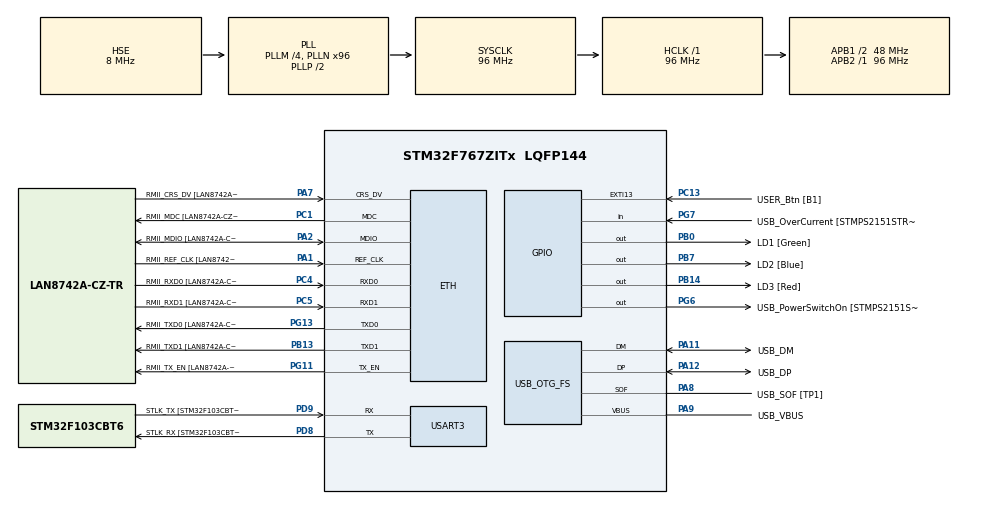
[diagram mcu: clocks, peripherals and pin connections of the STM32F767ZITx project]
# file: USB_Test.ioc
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ETH.MediaInterface=ETH_MEDIA_INTERFACE_RMII
ETH.PHY_Name=LAN8742A_PHY_ADDRESS
ETH.PHY_Value=0
ETH.PhyAddress=0
Mcu.Family=STM32F7
Mcu.Name=STM32F767ZITx
Mcu.Package=LQFP144
NVIC.OTG_FS_IRQn=true\:0\:0\:false\:false\:true\:false\:true
NVIC.PriorityGroup=NVIC_PRIORITYGROUP_4
PA1.GPIO_Label=RMII_REF_CLK [LAN8742A-CZ-TR_REFCLK0]
PA1.Mode=RMII
PA1.Signal=ETH_REF_CLK
PA10.GPIO_Label=USB_ID
PA10.Signal=USB_OTG_FS_ID
PA11.GPIO_Label=USB_DM
PA11.Mode=Device_Only
PA11.Signal=USB_OTG_FS_DM
PA12.GPIO_Label=USB_DP
PA12.Mode=Device_Only
PA12.Signal=USB_OTG_FS_DP
PA13.GPIO_Label=TMS
PA13.Mode=Serial_Wire
PA13.Signal=SYS_JTMS-SWDIO
PA14.GPIO_Label=TCK
PA14.Mode=Serial_Wire
PA14.Signal=SYS_JTCK-SWCLK
PA2.GPIO_Label=RMII_MDIO [LAN8742A-CZ-TR_MDIO]
PA2.Mode=RMII
PA2.Signal=ETH_MDIO
PA7.GPIO_Label=RMII_CRS_DV [LAN8742A-CZ-TR_CRS_DV]
PA7.Mode=RMII
PA7.Signal=ETH_CRS_DV
PA8.GPIO_Label=USB_SOF [TP1]
PA8.Mode=Activate_SOF_FS
PA8.Signal=USB_OTG_FS_SOF
PA9.GPIO_Label=USB_VBUS
PA9.Mode=Activate_VBUS
PA9.Signal=USB_OTG_FS_VBUS
PB0.GPIO_Label=LD1 [Green]
PB0.Signal=GPIO_Output
PB13.GPIO_Label=RMII_TXD1 [LAN8742A-CZ-TR_TXD1]
PB13.Mode=RMII
PB13.Signal=ETH_TXD1
PB14.GPIO_Label=LD3 [Red]
PB14.Signal=GPIO_Output
PB3.GPIO_Label=SWO
PB3.Signal=SYS_JTDO-SWO
PB7.GPIO_Label=LD2 [Blue]
PB7.Signal=GPIO_Output
PC1.GPIO_Label=RMII_MDC [LAN8742A-CZ-TR_MDC]
PC1.Mode=RMII
PC1.Signal=ETH_MDC
PC13.GPIO_Label=USER_Btn [B1]
PC13.Signal=GPXTI13
PC14/OSC32_IN.Mode=LSE-External-Oscillator
PC14/OSC32_IN.Signal=RCC_OSC32_IN
PC15/OSC32_OUT.Mode=LSE-External-Oscillator
PC15/OSC32_OUT.Signal=RCC_OSC32_OUT
PC4.GPIO_Label=RMII_RXD0 [LAN8742A-CZ-TR_RXD0]
PC4.Mode=RMII
PC4.Signal=ETH_RXD0
PC5.GPIO_Label=RMII_RXD1 [LAN8742A-CZ-TR_RXD1]
PC5.Mode=RMII
PC5.Signal=ETH_RXD1
PD8.GPIO_Label=STLK_RX [STM32F103CBT6_PA3]
PD8.Mode=Asynchronous
PD8.Signal=USART3_TX
PD9.GPIO_Label=STLK_TX [STM32F103CBT6_PA2]
PD9.Mode=Asynchronous
PD9.Signal=USART3_RX
PG11.GPIO_Label=RMII_TX_EN [LAN8742A-CZ-TR_TXEN]
PG11.Mode=RMII
PG11.Signal=ETH_TX_EN
PG13.GPIO_Label=RMII_TXD0 [LAN8742A-CZ-TR_TXD0]
PG13.Mode=RMII
PG13.Signal=ETH_TXD0
PG6.GPIO_Label=USB_PowerSwitchOn [STMPS2151STR_EN]
PG6.Signal=GPIO_Output
PG7.GPIO_Label=USB_OverCurrent [STMPS2151STR_FAULT]
PG7.Signal=GPIO_Input
PH0/OSC_IN.GPIO_Label=MCO [STM32F103CBT6_PA8]
PH0/OSC_IN.Mode=HSE-External-Clock-Source
PH0/OSC_IN.Signal=RCC_OSC_IN
PH1/OSC_OUT.Mode=HSE-External-Clock-Source
PH1/OSC_OUT.Signal=RCC_OSC_OUT
ProjectManager.HeapSize=0x200
ProjectManager.StackSize=0x400
ProjectManager.TargetToolchain=STM32CubeIDE
RCC.48MHZClocksFreq_Value=24000000
RCC.AHBFreq_Value=96000000
RCC.APB1CLKDivider=RCC_HCLK_DIV2
RCC.APB1Freq_Value=48000000
RCC.APB1TimFreq_Value=96000000
RCC.APB2Freq_Value=96000000
RCC.APB2TimFreq_Value=96000000
RCC.CortexFreq_Value=96000000
RCC.HCLKFreq_Value=96000000
RCC.HSE_VALUE=8000000
RCC.HSI_VALUE=16000000
RCC.PLLM=4
RCC.PLLMUL=RCC_PLL_MUL9
RCC.PLLN=96
RCC.PLLQ=4
RCC.PRESCALERUSB=RCC_USBCLKSOURCE_PLL_DIV1_5
RCC.SYSCLKFreq_VALUE=96000000
RCC.SYSCLKSource=RCC_SYSCLKSOURCE_PLLCLK
RCC.SYSCLKSourceVirtual=RCC_SYSCLKSOURCE_PLLCLK
RCC.USBFreq_Value=48000000
RCC.VCOOutputFreq_Value=192000000
USART3.VirtualMode-Asynchronous=VM_ASYNC
USB_DEVICE.CLASS_NAME_FS=HID
USB_DEVICE.PRODUCT_STRING_HID_FS=STM32 Fabian
USB_DEVICE.VirtualMode-HID_FS=Hid
USB_DEVICE.VirtualModeFS=Hid_FS
USB_OTG_FS.VirtualMode=Device_Only
VP_USB_DEVICE_VS_USB_DEVICE_HID_FS.Mode=HID_FS
board=NUCLEO-F767ZI

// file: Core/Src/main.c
/* USER CODE BEGIN Header */
/**
  ******************************************************************************
  * @file           : main.c
  * @brief          : Main program body
  ******************************************************************************
  * @attention
  *
  * <h2><center>&copy; Copyright (c) 2020 STMicroelectronics.
  * All rights reserved.</center></h2>
  *
  * This software component is licensed by ST under BSD 3-Clause license,
  * the "License"; You may not use this file except in compliance with the
  * License. You may obtain a copy of the License at:
  *                        opensource.org/licenses/BSD-3-Clause
  *
  ******************************************************************************
  */
/* USER CODE END Header */

#include "main.h"
#include "usb_device.h"

/* USER CODE BEGIN Includes */
#include "usbd_hid.h"
/* USER CODE END Includes */

ETH_HandleTypeDef heth;

UART_HandleTypeDef huart3;

void SystemClock_Config(void);
static void MX_GPIO_Init(void);
static void MX_ETH_Init(void);
static void MX_USART3_UART_Init(void);

/* USER CODE BEGIN 0 */
extern USBD_HandleTypeDef hUsbDeviceFS;

typedef struct
{
	uint8_t MODIFIER;
	uint8_t RESERVED;
	uint8_t KEYCODE1;
	uint8_t KEYCODE2;
	uint8_t KEYCODE3;
	uint8_t KEYCODE4;
	uint8_t KEYCODE5;
	uint8_t KEYCODE6;
} keyboardHID;

keyboardHID keyboardhid = {0,0,0,0,0,0,0,0};

/* USER CODE END 0 */

int main(void)
{

  /* MCU Configuration--------------------------------------------------------*/

  /* Reset of all peripherals, Initializes the Flash interface and the Systick. */
  HAL_Init();

  /* Configure the system clock */
  SystemClock_Config();

  /* Initialize all configured peripherals */
  MX_GPIO_Init();
  MX_ETH_Init();
  MX_USART3_UART_Init();
  MX_USB_DEVICE_Init();

  /* Infinite loop */
  while (1)
  {

    /* USER CODE BEGIN 3 */
	  if(HAL_GPIO_ReadPin(USER_Btn_GPIO_Port, USER_Btn_Pin) == 1){

		  keyboardhid.KEYCODE1 = 0x09;  // F
		  USBD_HID_SendReport(&hUsbDeviceFS, &keyboardhid, sizeof(keyboardhid));
		  HAL_Delay(50);

		  keyboardhid.KEYCODE1 = 0x00;  // Release
		  USBD_HID_SendReport(&hUsbDeviceFS, &keyboardhid, sizeof(keyboardhid));
		  HAL_Delay(200);

	  }
  }
  /* USER CODE END 3 */
}

void SystemClock_Config(void)
{
  RCC_OscInitTypeDef RCC_OscInitStruct = {0};
  RCC_ClkInitTypeDef RCC_ClkInitStruct = {0};
  RCC_PeriphCLKInitTypeDef PeriphClkInitStruct = {0};

  /** Configure LSE Drive Capability
  */
  HAL_PWR_EnableBkUpAccess();
  /** Configure the main internal regulator output voltage
  */
  __HAL_RCC_PWR_CLK_ENABLE();
  __HAL_PWR_VOLTAGESCALING_CONFIG(PWR_REGULATOR_VOLTAGE_SCALE3);
  /** Initializes the CPU, AHB and APB busses clocks
  */
  RCC_OscInitStruct.OscillatorType = RCC_OSCILLATORTYPE_HSE;
  RCC_OscInitStruct.HSEState = RCC_HSE_BYPASS;
  RCC_OscInitStruct.PLL.PLLState = RCC_PLL_ON;
  RCC_OscInitStruct.PLL.PLLSource = RCC_PLLSOURCE_HSE;
  RCC_OscInitStruct.PLL.PLLM = 4;
  RCC_OscInitStruct.PLL.PLLN = 96;
  RCC_OscInitStruct.PLL.PLLP = RCC_PLLP_DIV2;
  RCC_OscInitStruct.PLL.PLLQ = 4;
  if (HAL_RCC_OscConfig(&RCC_OscInitStruct) != HAL_OK)
  {
    Error_Handler();
  }
  /** Activate the Over-Drive mode
  */
  if (HAL_PWREx_EnableOverDrive() != HAL_OK)
  {
    Error_Handler();
  }
  /** Initializes the CPU, AHB and APB busses clocks
  */
  RCC_ClkInitStruct.ClockType = RCC_CLOCKTYPE_HCLK|RCC_CLOCKTYPE_SYSCLK
                              |RCC_CLOCKTYPE_PCLK1|RCC_CLOCKTYPE_PCLK2;
  RCC_ClkInitStruct.SYSCLKSource = RCC_SYSCLKSOURCE_PLLCLK;
  RCC_ClkInitStruct.AHBCLKDivider = RCC_SYSCLK_DIV1;
  RCC_ClkInitStruct.APB1CLKDivider = RCC_HCLK_DIV2;
  RCC_ClkInitStruct.APB2CLKDivider = RCC_HCLK_DIV1;

  if (HAL_RCC_ClockConfig(&RCC_ClkInitStruct, FLASH_LATENCY_3) != HAL_OK)
  {
    Error_Handler();
  }
  PeriphClkInitStruct.PeriphClockSelection = RCC_PERIPHCLK_USART3|RCC_PERIPHCLK_CLK48;
  PeriphClkInitStruct.Usart3ClockSelection = RCC_USART3CLKSOURCE_PCLK1;
  PeriphClkInitStruct.Clk48ClockSelection = RCC_CLK48SOURCE_PLL;
  if (HAL_RCCEx_PeriphCLKConfig(&PeriphClkInitStruct) != HAL_OK)
  {
    Error_Handler();
  }
}

static void MX_ETH_Init(void)
{

  heth.Instance = ETH;
  heth.Init.AutoNegotiation = ETH_AUTONEGOTIATION_ENABLE;
  heth.Init.PhyAddress = LAN8742A_PHY_ADDRESS;
  heth.Init.MACAddr[0] =   0x00;
  heth.Init.MACAddr[1] =   0x80;
  heth.Init.MACAddr[2] =   0xE1;
  heth.Init.MACAddr[3] =   0x00;
  heth.Init.MACAddr[4] =   0x00;
  heth.Init.MACAddr[5] =   0x00;
  heth.Init.RxMode = ETH_RXPOLLING_MODE;
  heth.Init.ChecksumMode = ETH_CHECKSUM_BY_HARDWARE;
  heth.Init.MediaInterface = ETH_MEDIA_INTERFACE_RMII;

  if (HAL_ETH_Init(&heth) != HAL_OK)
  {
    Error_Handler();
  }

}

static void MX_USART3_UART_Init(void)
{

  huart3.Instance = USART3;
  huart3.Init.BaudRate = 115200;
  huart3.Init.WordLength = UART_WORDLENGTH_8B;
  huart3.Init.StopBits = UART_STOPBITS_1;
  huart3.Init.Parity = UART_PARITY_NONE;
  huart3.Init.Mode = UART_MODE_TX_RX;
  huart3.Init.HwFlowCtl = UART_HWCONTROL_NONE;
  huart3.Init.OverSampling = UART_OVERSAMPLING_16;
  huart3.Init.OneBitSampling = UART_ONE_BIT_SAMPLE_DISABLE;
  huart3.AdvancedInit.AdvFeatureInit = UART_ADVFEATURE_NO_INIT;
  if (HAL_UART_Init(&huart3) != HAL_OK)
  {
    Error_Handler();
  }

}

static void MX_GPIO_Init(void)
{
  GPIO_InitTypeDef GPIO_InitStruct = {0};

  /* GPIO Ports Clock Enable */
  __HAL_RCC_GPIOC_CLK_ENABLE();
  __HAL_RCC_GPIOH_CLK_ENABLE();
  __HAL_RCC_GPIOA_CLK_ENABLE();
  __HAL_RCC_GPIOB_CLK_ENABLE();
  __HAL_RCC_GPIOD_CLK_ENABLE();
  __HAL_RCC_GPIOG_CLK_ENABLE();

  /*Configure GPIO pin Output Level */
  HAL_GPIO_WritePin(GPIOB, LD1_Pin|LD3_Pin|LD2_Pin, GPIO_PIN_RESET);

  /*Configure GPIO pin Output Level */
  HAL_GPIO_WritePin(USB_PowerSwitchOn_GPIO_Port, USB_PowerSwitchOn_Pin, GPIO_PIN_RESET);

  /*Configure GPIO pin : USER_Btn_Pin */
  GPIO_InitStruct.Pin = USER_Btn_Pin;
  GPIO_InitStruct.Mode = GPIO_MODE_IT_RISING;
  GPIO_InitStruct.Pull = GPIO_NOPULL;
  HAL_GPIO_Init(USER_Btn_GPIO_Port, &GPIO_InitStruct);

  /*Configure GPIO pins : LD1_Pin LD3_Pin LD2_Pin */
  GPIO_InitStruct.Pin = LD1_Pin|LD3_Pin|LD2_Pin;
  GPIO_InitStruct.Mode = GPIO_MODE_OUTPUT_PP;
  GPIO_InitStruct.Pull = GPIO_NOPULL;
  GPIO_InitStruct.Speed = GPIO_SPEED_FREQ_LOW;
  HAL_GPIO_Init(GPIOB, &GPIO_InitStruct);

  /*Configure GPIO pin : USB_PowerSwitchOn_Pin */
  GPIO_InitStruct.Pin = USB_PowerSwitchOn_Pin;
  GPIO_InitStruct.Mode = GPIO_MODE_OUTPUT_PP;
  GPIO_InitStruct.Pull = GPIO_NOPULL;
  GPIO_InitStruct.Speed = GPIO_SPEED_FREQ_LOW;
  HAL_GPIO_Init(USB_PowerSwitchOn_GPIO_Port, &GPIO_InitStruct);

  /*Configure GPIO pin : USB_OverCurrent_Pin */
  GPIO_InitStruct.Pin = USB_OverCurrent_Pin;
  GPIO_InitStruct.Mode = GPIO_MODE_INPUT;
  GPIO_InitStruct.Pull = GPIO_NOPULL;
  HAL_GPIO_Init(USB_OverCurrent_GPIO_Port, &GPIO_InitStruct);

}

void Error_Handler(void)
{
}

/************************ (C) COPYRIGHT STMicroelectronics *****END OF FILE****/
